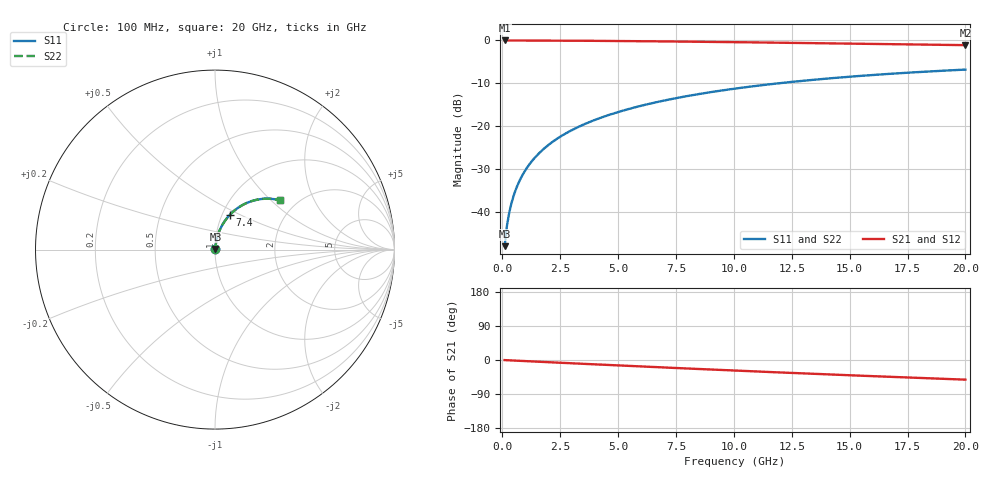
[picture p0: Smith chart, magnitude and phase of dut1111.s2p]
! Touchstone file exported from HFSS 2026.1.0
!  File:  C:/ffzhzh/LocalFiles/Ansys_Project_Files/temp_train_BSMRDL_1111_1783174961_51560.aedt
!  Generated:  10:24:04 PM Jul  4, 2026
!  Design:  BSMRDL
!  Project:  temp_train_BSMRDL_1111_1783174961_51560
! Variables:
!  h_bsmrdl = 5.43um
!  h_ox = 20um
!  h_rdl = 5um
!  h_sub = 80um
!  h_tmrdl = 5um
!  h_tsv = 80um
!  h_via = 3um
!  l_bsmrdl = 782.76um
!  l_sub = 1182.76um
!  l_tmrdl = 200um
!  m_sub = 200um
!  pitch = 58.88um
!  r_tsv = 6um
!  s_tmrdl = 10um
!  w_bsmrdl = 24.68um
!  w_sub = 500um
!  w_tmrdl = 12um
!  x_tsv_center1 = 206um
!  x_tsv_center2 = 1013.44um
!  x_tsv_center3 = 1225.44um
!  x_tsv_center4 = 2032.88um
!  x_tsv_center5 = 2244.88um
!  x_tsv_center6 = 3052.32um
# GHz S MA R 50.000000
! Terminal data exported
! Port[1] = BSM_RDL1_1_T1
! Port[2] = BSM_RDL1_1_T2
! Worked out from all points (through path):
!   200 points, 100 MHz to 20 GHz, reference 50 ohm
!   highest |S21| = -0.02 dB at 100 MHz (marker M1); lowest = -1.1 dB at 20 GHz (marker M2)
!   group delay of S21, straight-line fit = 7.2 ps
!   lowest |S11| = -48.1 dB at 100 MHz (marker M3), VSWR 1.01, Z = 50.2 + j0.326 ohm
!   |S11| at or under -10 dB: start of sweep to 11.97 GHz
!   |S22| runs from -48.1 to -6.8 dB; largest |S21 - S12| = 2e-14
!   S11 on the Smith chart (normalised r, x): 100 MHz: 1.00, +0.01; 7.4 GHz: 1.09, +0.44; 20 GHz: 1.65, +1.14
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0.1  0.003958 55.0  0.9977 -0.3  0.9977 -0.3  0.003958 55.0
! Gamma 0 0 0 0
! Port Impedance 50 0 50 0
0.2  0.006819 68.6  0.9976 -0.6  0.9976 -0.6  0.006819 68.6
0.3  0.009751 73.9  0.9974 -0.9  0.9974 -0.9  0.009751 73.9
0.4  0.0127 76.8  0.9973 -1.2  0.9973 -1.2  0.0127 76.8
0.5  0.01566 78.5  0.9972 -1.5  0.9972 -1.5  0.01566 78.5
0.7  0.02162 80.4  0.997 -2.1  0.997 -2.1  0.02162 80.4
0.8  0.02461 80.9  0.9968 -2.3  0.9968 -2.3  0.02461 80.9
1  0.03059 81.5  0.9966 -2.9  0.9966 -2.9  0.03059 81.4
1.2  0.03658 81.6  0.9962 -3.5  0.9962 -3.5  0.03658 81.6
1.4  0.04255 81.5  0.9959 -4.1  0.9959 -4.1  0.04255 81.5
1.7  0.05148 81.2  0.9952 -5.0  0.9952 -5.0  0.05148 81.2
2  0.06035 80.6  0.9945 -5.8  0.9945 -5.8  0.06035 80.6
2.7  0.08082 79.1  0.9924 -7.8  0.9924 -7.8  0.08082 79.1
3.5  0.1038 77.1  0.9895 -10.1  0.9895 -10.1  0.1038 77.1
4.2  0.1235 75.3  0.9867 -12.1  0.9867 -12.1  0.1235 75.3
5  0.1456 73.2  0.9831 -14.3  0.9831 -14.3  0.1456 73.2
6.8  0.1935 68.6  0.9737 -19.2  0.9737 -19.2  0.1935 68.6
7.4  0.2089 67.1  0.9703 -20.8  0.9703 -20.8  0.2089 67.0
10.1  0.2746 60.2  0.9528 -28.0  0.9528 -28.0  0.2746 60.2
13.4  0.3458 52.1  0.9288 -36.4  0.9288 -36.4  0.3458 52.1
16.7  0.4062 44.3  0.9037 -44.3  0.9037 -44.3  0.4062 44.3
20  0.456 37.0  0.8797 -51.8  0.8797 -51.8  0.456 36.9
